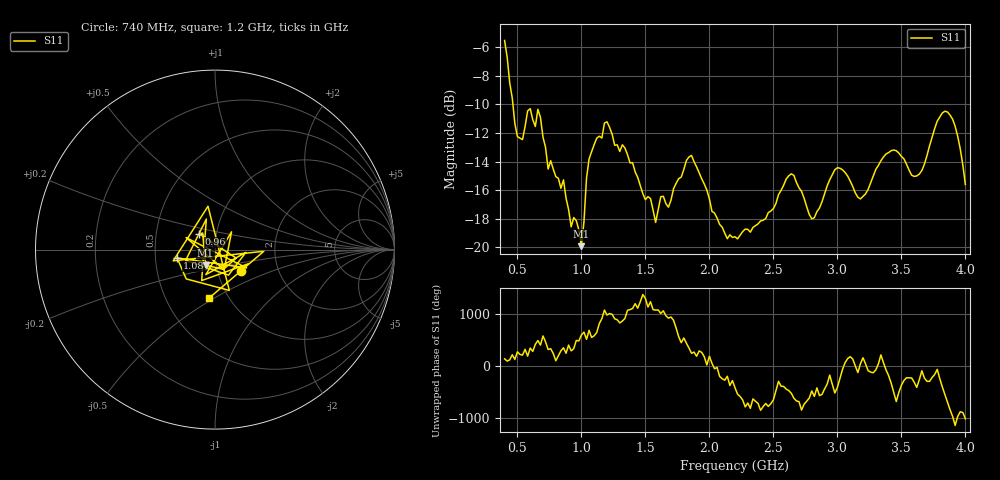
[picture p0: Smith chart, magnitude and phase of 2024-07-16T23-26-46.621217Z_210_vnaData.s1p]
!Created with skrf (http://scikit-rf.org).
# Hz S RI R 50.0
!freq ReS11 ImS11
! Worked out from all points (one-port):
!   181 points, 400 MHz to 4 GHz, reference 50 ohm
!   lowest |S11| = -19.9 dB at 1 GHz (marker M1), VSWR 1.22, Z = 44.4 - j7.75 ohm
!   |S11| at or under -10 dB: 464.8 MHz to end of sweep
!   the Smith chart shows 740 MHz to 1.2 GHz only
!   S11 on the Smith chart (normalised r, x): 740 MHz: 1.30, -0.32; 960 MHz: 0.83, +0.15; 1.08 GHz: 0.65, -0.06; 1.2 GHz: 0.81, -0.48
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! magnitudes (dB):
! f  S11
! 400 MHz  -5.5
! 500 MHz  -12.3
! 660 MHz  -10.3
! 740 MHz  -14.5
! 860 MHz  -15.3
! 920 MHz  -18.6
! 960 MHz  -18.1
! 1 GHz  -19.9
! 1.04 GHz  -15.1
! 1.08 GHz  -13.3
! 1.2 GHz  -11.2
! 1.3 GHz  -13.3
! 1.58 GHz  -18.2
! 1.76 GHz  -15.2
! 1.86 GHz  -13.6
! 2.02 GHz  -17.5
! 2.2 GHz  -19.3
! 2.66 GHz  -15.0
! 2.8 GHz  -18.0
! 2.98 GHz  -14.6
! 3.1 GHz  -15.4
! 3.18 GHz  -16.6
! 3.44 GHz  -13.2
! 3.56 GHz  -14.6
! 3.66 GHz  -14.6
! 3.84 GHz  -10.5
! 3.92 GHz  -11.5
! 4 GHz  -15.6
